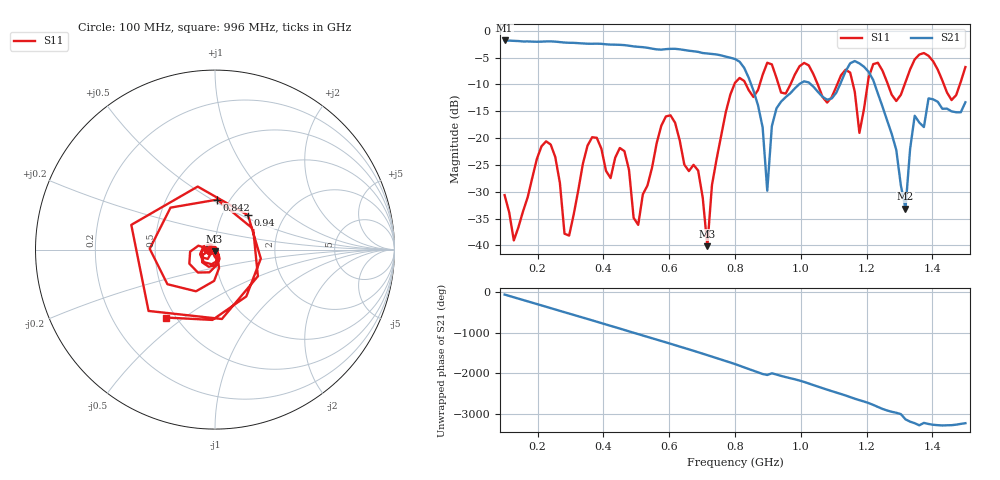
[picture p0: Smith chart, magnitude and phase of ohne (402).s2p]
! NanoVNA-App
! Date: 2025-09-25 14:23:55
! Start: 100MHz Stop: 1,5GHz Points: 101
! S-Parameter data: F S11 S21 S12 S22
# Hz S RI R 50
!  Frequency  S11_Real  S11_Imag  S21_Real  S21_Imag  S12_Real  S12_Imag  S22_Real  S22_Imag
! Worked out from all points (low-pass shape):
!   101 points, 100 MHz to 1.5 GHz, reference 50 ohm
!   highest |S21| = -1.79 dB at 100 MHz (marker M1); lowest = -33.1 dB at 1.318 GHz (marker M2)
!   |S21| within 3 dB of the highest: start of sweep to 771 MHz
!   lowest |S11| = -40.1 dB at 716 MHz (marker M3), VSWR 1.02, Z = 49.8 - j0.949 ohm
!   |S11| at or under -10 dB: start of sweep to 798 MHz; 833.2 MHz to 875.1 MHz (41.85 MHz wide, 4.9 % of centre); 1.051 GHz to 1.111 GHz (59.04 MHz wide, 5.46 % of centre) (the widest 3 of 7)
!   S12 and S22 are empty: the file has one direction only
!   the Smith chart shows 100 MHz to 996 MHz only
!   S11 on the Smith chart (normalised r, x): 100 MHz: 0.94, -0.01; 842 MHz: 0.88, +0.53; 940 MHz: 1.32, +0.55; 996 MHz: 0.44, -0.43
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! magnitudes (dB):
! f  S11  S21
! 100 MHz  -30.6  -1.8
! 128 MHz  -39.1  -1.9
! 226 MHz  -20.6  -2.0
! 296 MHz  -38.2  -2.2
! 338 MHz  -24.7  -2.4
! 464 MHz  -22.4  -2.7
! 506 MHz  -36.2  -3.0
! 576 MHz  -17.7  -3.5
! 688 MHz  -26.0  -3.9
! 716 MHz  -40.1  -4.2
! 800 MHz  -9.7  -5.3
! 842 MHz  -11.1  -8.8
! 898 MHz  -6.0  -29.8
! 940 MHz  -11.5  -13.2
! 996 MHz  -6.6  -9.9
! 1.038 GHz  -8.1  -10.4
! 1.178 GHz  -19.0  -6.1
! 1.22 GHz  -6.2  -9.2
! 1.276 GHz  -11.9  -19.2
! 1.318 GHz  -9.6  -33.1
! 1.346 GHz  -5.3  -15.8
! 1.5 GHz  -6.8  -13.3
